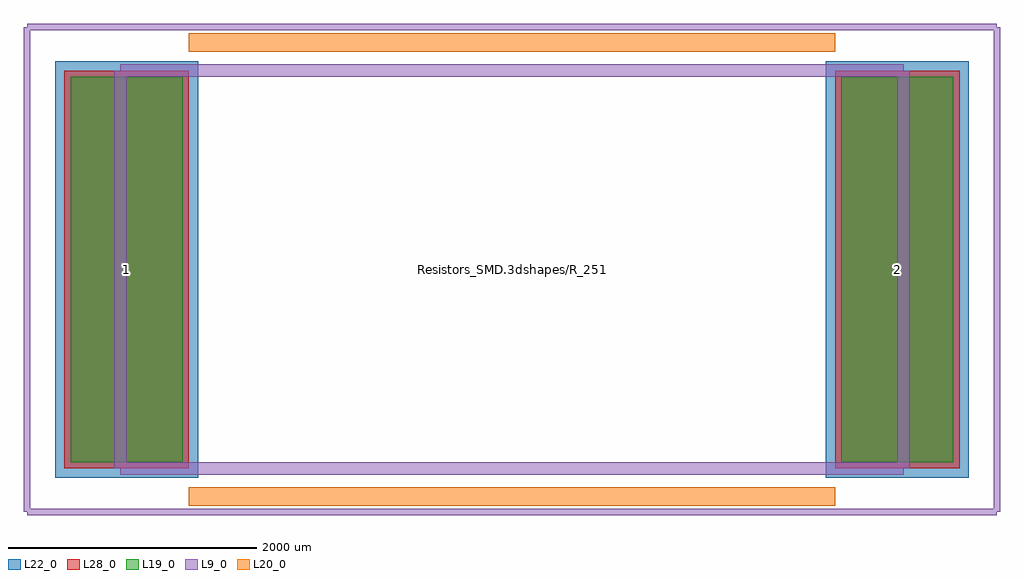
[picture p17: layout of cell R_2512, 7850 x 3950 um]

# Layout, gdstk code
import gdstk
lib = gdstk.Library(unit=1e-6, precision=1e-09)
def R(c, l, rs):  # rectangles x0, y0, x1, y1
    for r in rs: c.add(gdstk.rectangle(r[:2], r[2:], *l))
L9_0 = (9, 0)
L19_0 = (19, 0)
L20_0 = (20, 0)
L22_0 = (22, 0)
L28_0 = (28, 0)

r_2512 = lib.new_cell('R_2512')
R(r_2512, L19_0, [(-3550,-1550,-2650,1550), (2650,-1550,3550,1550)])
R(r_2512, L22_0, [(-3675,-1675,-2525,1675), (2525,-1675,3675,1675)])
R(r_2512, L28_0, [(-3600,-1600,-2600,1600), (2600,-1600,3600,1600)])
r_2512.add(gdstk.FlexPath([(-2600,1825),(2600,1825)], 149.998, ends="flush", simple_path=True, layer=20, datatype=0))  # L20_0
r_2512.add(gdstk.FlexPath([(2600,-1825),(-2600,-1825)], 149.998, ends="flush", simple_path=True, layer=20, datatype=0))  # L20_0
r_2512.add(gdstk.FlexPath([(3900,1950),(3900,-1950)], 50, ends="flush", simple_path=True, layer=9, datatype=0))  # L9_0
r_2512.add(gdstk.FlexPath([(-3900,1950),(-3900,-1950)], 50, ends="flush", simple_path=True, layer=9, datatype=0))  # L9_0
r_2512.add(gdstk.FlexPath([(-3900,-1950),(3900,-1950)], 50, ends="flush", simple_path=True, layer=9, datatype=0))  # L9_0
r_2512.add(gdstk.FlexPath([(-3900,1950),(3900,1950)], 50, ends="flush", simple_path=True, layer=9, datatype=0))  # L9_0
r_2512.add(gdstk.FlexPath([(-3150,1600),(3150,1600)], 100, ends="flush", simple_path=True, layer=9, datatype=0))  # L9_0
r_2512.add(gdstk.FlexPath([(3150,1600),(3150,-1600)], 100, ends="flush", simple_path=True, layer=9, datatype=0))  # L9_0
r_2512.add(gdstk.FlexPath([(3150,-1600),(-3150,-1600)], 100, ends="flush", simple_path=True, layer=9, datatype=0))  # L9_0
r_2512.add(gdstk.FlexPath([(-3150,-1600),(-3150,1600)], 100, ends="flush", simple_path=True, layer=9, datatype=0))  # L9_0
r_2512.add(gdstk.Label('Resistors_SMD.3dshapes/R_2512.wrl', (0,0), layer=12, texttype=0))
r_2512.add(gdstk.Label('2', (3100,0), layer=28, texttype=0))
r_2512.add(gdstk.Label('1', (-3100,0), layer=28, texttype=0))
r_2512.add(gdstk.Label('type', (0,-3100), layer=9, texttype=0))
r_2512.add(gdstk.Label('devicename', (0,3100), layer=9, texttype=0))

lib.write_gds('R_2512.gds')
